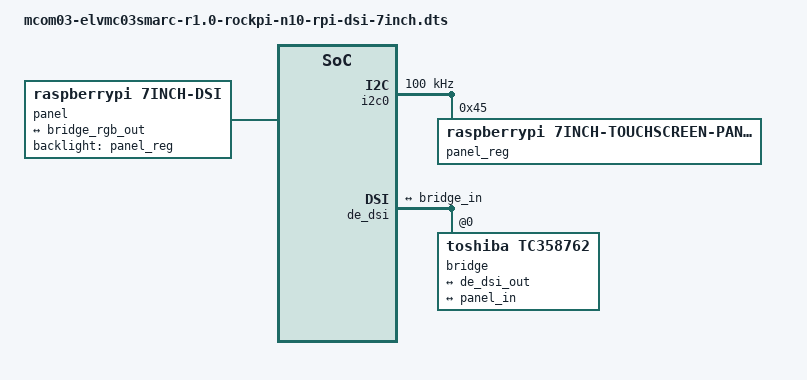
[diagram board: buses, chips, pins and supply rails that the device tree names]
// SPDX-License-Identifier: GPL-2.0+
/*
 * Copyright 2021-2022 RnD Center "ELVEES", JSC
 */

/dts-v1/;

#include <dt-bindings/gpio/gpio.h>

#include "mcom03-elvmc03smarc-r1.0-rockpi-n10.dts"

/ {
	panel {
		#address-cells = <1>;
		#size-cells = <0>;
		compatible = "raspberrypi,7inch-dsi";
		backlight = <&panel_reg>;

		ports {
			#address-cells = <1>;
			#size-cells = <0>;

			port {
				panel_in: endpoint {
					remote-endpoint = <&bridge_rgb_out>;
				};
			};
		};
	};
};

&i2c0 {
	clock-frequency = <100000>;
	status = "okay";

	panel_reg: regulator@45 {
		compatible = "raspberrypi,7inch-touchscreen-panel-regulator";
		reg = <0x45>;
		gpio-controller;
		#gpio-cells = <2>;
	};
};

&de_dsi {
	status = "okay";

	bridge@0 {
		#address-cells = <1>;
		#size-cells = <0>;
		compatible = "toshiba,tc358762";
		reg = <0>;

		ports {
			#address-cells = <1>;
			#size-cells = <0>;

			port@0 {
				reg = <0>;

				bridge_in: endpoint {
					remote-endpoint = <&de_dsi_out>;
				};
			};

			port@1 {
				reg = <1>;

				bridge_rgb_out: endpoint {
					remote-endpoint = <&panel_in>;
				};
			};
		};
	};

	ports {
		port@1 {
			reg = <1>;

			de_dsi_out: endpoint {
				remote-endpoint = <&bridge_in>;
			};
		};
	};
};
